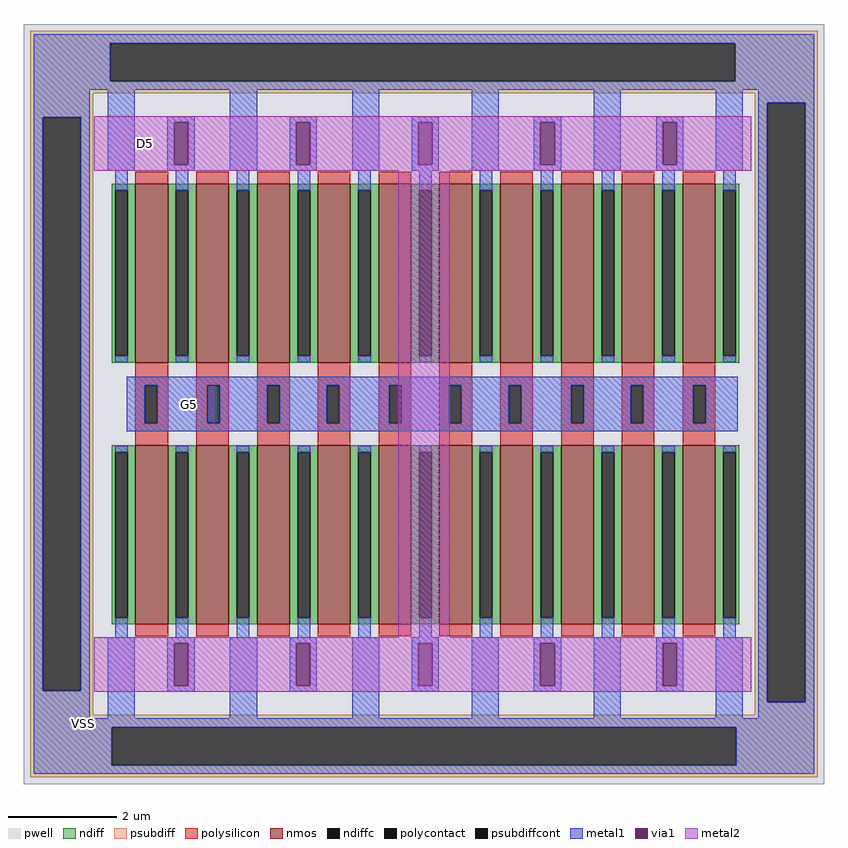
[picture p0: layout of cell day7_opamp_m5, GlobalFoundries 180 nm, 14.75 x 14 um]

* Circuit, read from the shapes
.subckt day7_opamp_m5 D5 G5 VSS
XM1 D5 G5 VSS VSS nfet_03v3 w=3.3u l=0.6u m=20
.ends

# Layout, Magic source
magic
tech gf180mcuD
magscale 1 10
<< pwell >>
rect 430 -1040 3380 1760
<< psubdiff >>
rect 454 1690 3356 1736
rect 454 1550 749 1690
rect 3051 1550 3356 1690
rect 454 1504 3356 1550
rect 454 1417 686 1504
rect 454 -697 500 1417
rect 640 -697 686 1417
rect 454 -784 686 -697
rect 3124 1469 3356 1504
rect 3124 -739 3170 1469
rect 3310 -739 3356 1469
rect 3124 -784 3356 -739
rect 454 -830 3356 -784
rect 454 -970 754 -830
rect 3056 -970 3356 -830
rect 454 -1016 3356 -970
<< psubdiffcont >>
rect 749 1550 3051 1690
rect 500 -697 640 1417
rect 3170 -739 3310 1469
rect 754 -970 3056 -830
<< metal1 >>
rect 467 1690 3343 1723
rect 467 1550 749 1690
rect 3051 1550 3343 1690
rect 467 1517 3343 1550
rect 467 1417 673 1517
rect 467 -697 500 1417
rect 640 -697 673 1417
rect 3137 1469 3343 1517
rect 940 260 1140 460
rect 467 -797 673 -697
rect 3137 -739 3170 1469
rect 3310 -739 3343 1469
rect 3137 -797 3343 -739
rect 467 -830 3343 -797
rect 467 -970 754 -830
rect 3056 -970 3343 -830
rect 467 -1003 3343 -970
<< metal2 >>
rect 780 1220 980 1420
rect 1810 -700 2000 1420
use day7_opamp_m5half  day7_opamp_m5half_0
transform 1 0 700 0 1 -1140
box -20 330 2410 1600
use day7_opamp_m5half  day7_opamp_m5half_1
transform 1 0 700 0 -1 1860
box -20 330 2410 1600
<< labels >>
flabel metal2 s 780 1220 980 1420 0 FreeSans 2000 0 0 0 D5
port 1 nsew
flabel metal1 s 940 260 1140 460 0 FreeSans 2000 0 0 0 G5
port 2 nsew
flabel metal1 s 630 -837 670 -797 0 FreeSans 2000 0 0 0 VSS
port 3 nsew
<< end >>

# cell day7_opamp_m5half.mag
magic
tech gf180mcuD
magscale 1 10
<< pwell >>
rect -20 330 2410 1600
<< nmos >>
rect 142 688 262 1348
rect 366 688 486 1348
rect 590 688 710 1348
rect 814 688 934 1348
rect 1038 688 1158 1348
rect 1262 688 1382 1348
rect 1486 688 1606 1348
rect 1710 688 1830 1348
rect 1934 688 2054 1348
rect 2158 688 2278 1348
<< ndiff >>
rect 54 1323 142 1348
rect 54 713 67 1323
rect 113 713 142 1323
rect 54 688 142 713
rect 262 1323 366 1348
rect 262 713 291 1323
rect 337 713 366 1323
rect 262 688 366 713
rect 486 1323 590 1348
rect 486 713 515 1323
rect 561 713 590 1323
rect 486 688 590 713
rect 710 1323 814 1348
rect 710 713 739 1323
rect 785 713 814 1323
rect 710 688 814 713
rect 934 1323 1038 1348
rect 934 713 963 1323
rect 1009 713 1038 1323
rect 934 688 1038 713
rect 1158 1323 1262 1348
rect 1158 713 1187 1323
rect 1233 713 1262 1323
rect 1158 688 1262 713
rect 1382 1323 1486 1348
rect 1382 713 1411 1323
rect 1457 713 1486 1323
rect 1382 688 1486 713
rect 1606 1323 1710 1348
rect 1606 713 1635 1323
rect 1681 713 1710 1323
rect 1606 688 1710 713
rect 1830 1323 1934 1348
rect 1830 713 1859 1323
rect 1905 713 1934 1323
rect 1830 688 1934 713
rect 2054 1323 2158 1348
rect 2054 713 2083 1323
rect 2129 713 2158 1323
rect 2054 688 2158 713
rect 2278 1323 2366 1348
rect 2278 713 2307 1323
rect 2353 713 2366 1323
rect 2278 688 2366 713
<< ndiffc >>
rect 67 713 113 1323
rect 291 713 337 1323
rect 515 713 561 1323
rect 739 713 785 1323
rect 963 713 1009 1323
rect 1187 713 1233 1323
rect 1411 713 1457 1323
rect 1635 713 1681 1323
rect 1859 713 1905 1323
rect 2083 713 2129 1323
rect 2307 713 2353 1323
<< polysilicon >>
rect 142 1570 262 1600
rect 142 1430 177 1570
rect 223 1430 262 1570
rect 142 1348 262 1430
rect 366 1570 486 1600
rect 366 1430 407 1570
rect 453 1430 486 1570
rect 366 1348 486 1430
rect 590 1570 710 1600
rect 590 1430 627 1570
rect 673 1430 710 1570
rect 590 1348 710 1430
rect 814 1570 934 1600
rect 814 1430 847 1570
rect 893 1430 934 1570
rect 814 1348 934 1430
rect 1038 1570 1158 1600
rect 1038 1430 1077 1570
rect 1123 1430 1158 1570
rect 1038 1348 1158 1430
rect 1262 1570 1382 1600
rect 1262 1430 1297 1570
rect 1343 1430 1382 1570
rect 1262 1348 1382 1430
rect 1486 1570 1606 1600
rect 1486 1430 1517 1570
rect 1563 1430 1606 1570
rect 1486 1348 1606 1430
rect 1710 1570 1830 1600
rect 1710 1430 1747 1570
rect 1793 1430 1830 1570
rect 1710 1348 1830 1430
rect 1934 1570 2054 1600
rect 1934 1430 1967 1570
rect 2013 1430 2054 1570
rect 1934 1348 2054 1430
rect 2158 1570 2278 1600
rect 2158 1430 2197 1570
rect 2243 1430 2278 1570
rect 2158 1348 2278 1430
rect 142 644 262 688
rect 366 644 486 688
rect 590 644 710 688
rect 814 644 934 688
rect 1038 644 1158 688
rect 1262 644 1382 688
rect 1486 644 1606 688
rect 1710 644 1830 688
rect 1934 644 2054 688
rect 2158 644 2278 688
<< polycontact >>
rect 177 1430 223 1570
rect 407 1430 453 1570
rect 627 1430 673 1570
rect 847 1430 893 1570
rect 1077 1430 1123 1570
rect 1297 1430 1343 1570
rect 1517 1430 1563 1570
rect 1747 1430 1793 1570
rect 1967 1430 2013 1570
rect 2197 1430 2243 1570
<< metal1 >>
rect 110 1570 2360 1600
rect 110 1430 177 1570
rect 223 1430 407 1570
rect 453 1430 627 1570
rect 673 1430 847 1570
rect 893 1430 1077 1570
rect 1123 1430 1297 1570
rect 1343 1430 1517 1570
rect 1563 1430 1747 1570
rect 1793 1430 1967 1570
rect 2013 1430 2197 1570
rect 2243 1430 2360 1570
rect 110 1400 2360 1430
rect 67 1323 113 1346
rect 67 640 113 713
rect 291 1323 337 1346
rect 291 640 337 713
rect 515 1323 561 1346
rect 515 640 561 713
rect 739 1323 785 1346
rect 739 640 785 713
rect 963 1323 1009 1346
rect 963 640 1009 713
rect 1187 1323 1233 1346
rect 1187 640 1233 713
rect 1411 1323 1457 1346
rect 1411 640 1457 713
rect 1635 1323 1681 1346
rect 1635 640 1681 713
rect 1859 1323 1905 1346
rect 1859 640 1905 713
rect 2083 1323 2129 1346
rect 2083 640 2129 713
rect 2307 1323 2353 1346
rect 2307 640 2353 713
rect 40 340 140 640
rect 260 618 360 640
rect 260 462 284 618
rect 336 462 360 618
rect 260 440 360 462
rect 490 340 590 640
rect 710 618 810 640
rect 710 462 734 618
rect 786 462 810 618
rect 710 440 810 462
rect 940 340 1040 640
rect 1160 618 1260 640
rect 1160 462 1184 618
rect 1236 462 1260 618
rect 1160 440 1260 462
rect 1380 340 1480 640
rect 1610 618 1710 640
rect 1610 462 1634 618
rect 1686 462 1710 618
rect 1610 440 1710 462
rect 1830 340 1930 640
rect 2060 618 2160 640
rect 2060 462 2084 618
rect 2136 462 2160 618
rect 2060 440 2160 462
rect 2280 340 2380 640
<< via1 >>
rect 284 462 336 618
rect 734 462 786 618
rect 1184 462 1236 618
rect 1634 462 1686 618
rect 2084 462 2136 618
<< metal2 >>
rect -10 618 2410 640
rect -10 462 284 618
rect 336 462 734 618
rect 786 462 1184 618
rect 1236 462 1634 618
rect 1686 462 2084 618
rect 2136 462 2410 618
rect -10 440 2410 462
<< end >>
